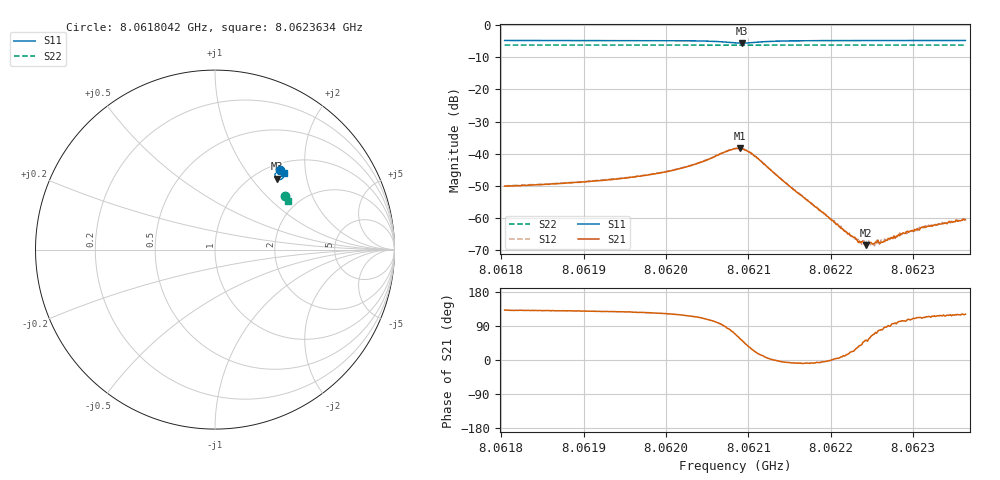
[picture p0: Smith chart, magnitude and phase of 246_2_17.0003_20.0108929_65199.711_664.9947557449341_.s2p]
#  HZ  S  RI  R  50.00
! Rohde & Schwarz Vector Network Analyzer
! Rohde-Schwarz,ZNB20-2Port,1311601062101988,3.16
! Created: UTC 3/20/2024, 11:03:05 PM
! freq[Hz]  re:S11  im:S11  re:S21  im:S21  re:S12  im:S12  re:S22  im:S22
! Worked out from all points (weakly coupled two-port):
!   401 points, 8.0618042 GHz to 8.0623634 GHz, reference 50 ohm
!   highest |S21| = -38.34 dB at 8.0620894 GHz (marker M1); lowest = -68.4 dB at 8.0622432 GHz (marker M2)
!   lowest |S11| = -5.6 dB at 8.0620922 GHz (marker M3), VSWR 3.20, Z = 61.7 + j67.3 ohm
!   |S11| at or under -10 dB: nowhere
!   |S22| runs from -6.3 to -6.2 dB; largest |S21 - S12| = 0.00086
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8.06180425e9  0.3643 0.4461  -0.00209 0.00234  -0.00198 0.0025  0.3891 0.2967
8.06189791e9  0.371 0.44  -0.0023 0.00282  -0.00212 0.00294  0.3922 0.2921
8.06195243e9  0.3756 0.4351  -0.00253 0.00334  -0.00235 0.00355  0.3941 0.2892
8.06199157e9  0.3793 0.43  -0.00276 0.00417  -0.00254 0.00435  0.3955 0.2871
8.06203211e9  0.3831 0.42  -0.00285 0.00603  -0.00252 0.00627  0.3969 0.2849
8.06208383e9  0.3573 0.3901  0.00421 0.0112  0.00507 0.011  0.3968 0.2816
8.06208942e9  0.3475 0.3928  0.0065 0.0102  0.00714 0.00984  0.3965 0.2816
8.06209222e9  0.3431 0.3957  0.00732 0.00941  0.00797 0.00893  0.3966 0.2817
8.0621006e9  0.335 0.4089  0.00876 0.00608  0.00928 0.00562  0.3967 0.282
8.06210899e9  0.3354 0.4219  0.00848 0.00325  0.00864 0.00268  0.3971 0.2821
8.06214813e9  0.3581 0.4394  0.00328 -0.000362  0.00325 -0.000576  0.3996 0.2807
8.06217749e9  0.3668 0.4384  0.00162 -0.000223  0.00164 -0.000318  0.4008 0.2791
8.06222641e9  0.3752 0.435  0.000476 0.000198  0.000473 0.000171  0.4027 0.2766
8.0622348e9  0.3763 0.4344  0.000345 0.00027  0.000354 0.000205  0.403 0.2761
8.06224319e9  0.3771 0.4339  0.000234 0.000302  0.000306 0.000307  0.4034 0.2757
8.06225158e9  0.3779 0.4334  0.000153 0.000365  0.00019 0.00035  0.4036 0.2753
8.06225437e9  0.3782 0.4332  0.000126 0.000405  0.000152 0.000379  0.4037 0.2751
8.06226136e9  0.3791 0.4327  7.16e-05 0.000416  8.82e-05 0.000452  0.4039 0.2747
8.06226276e9  0.3791 0.4327  7.51e-05 0.000413  9.48e-05 0.000437  0.404 0.2746
8.06227115e9  0.3799 0.4321  6.88e-06 0.000479  3.02e-05 0.000463  0.4043 0.2742
8.06231169e9  0.3833 0.4296  -0.000263 0.00067  -0.000213 0.000663  0.4057 0.2722
8.06236341e9  0.387 0.4265  -0.000482 0.000807  -0.000453 0.000882  0.4072 0.2695
